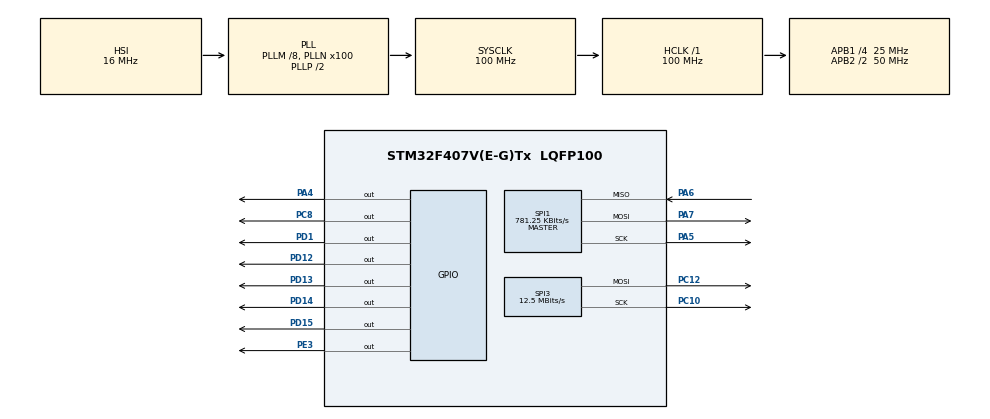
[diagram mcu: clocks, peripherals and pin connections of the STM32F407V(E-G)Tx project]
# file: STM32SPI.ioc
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Dma.Request0=SPI3_TX
Dma.SPI3_TX.0.Direction=DMA_MEMORY_TO_PERIPH
Dma.SPI3_TX.0.FIFOMode=DMA_FIFOMODE_DISABLE
Dma.SPI3_TX.0.Instance=DMA1_Stream7
Dma.SPI3_TX.0.MemDataAlignment=DMA_MDATAALIGN_BYTE
Dma.SPI3_TX.0.MemInc=DMA_MINC_ENABLE
Dma.SPI3_TX.0.Mode=DMA_NORMAL
Dma.SPI3_TX.0.PeriphDataAlignment=DMA_PDATAALIGN_BYTE
Dma.SPI3_TX.0.PeriphInc=DMA_PINC_DISABLE
Dma.SPI3_TX.0.Priority=DMA_PRIORITY_VERY_HIGH
FREERTOS.Tasks01=defaultTask,24,128,StartDefaultTask,Default,NULL,Dynamic,NULL,NULL
Mcu.Family=STM32F4
Mcu.Name=STM32F407V(E-G)Tx
Mcu.Package=LQFP100
NVIC.DMA1_Stream7_IRQn=true\:5\:0\:false\:true\:true\:1\:true\:false\:true
NVIC.PriorityGroup=NVIC_PRIORITYGROUP_4
NVIC.SPI3_IRQn=true\:5\:0\:true\:true\:true\:2\:true\:true\:true
NVIC.TIM1_UP_TIM10_IRQn=true\:0\:0\:false\:false\:true\:false\:false\:true
NVIC.TimeBase=TIM1_UP_TIM10_IRQn
NVIC.TimeBaseIP=TIM10
PA4.GPIO_Speed=GPIO_SPEED_FREQ_VERY_HIGH
PA4.PinState=GPIO_PIN_SET
PA4.Signal=GPIO_Output
PA5.Mode=Full_Duplex_Master
PA5.Signal=SPI1_SCK
PA6.Mode=Full_Duplex_Master
PA6.Signal=SPI1_MISO
PA7.Mode=Full_Duplex_Master
PA7.Signal=SPI1_MOSI
PC10.Mode=TX_Only_Simplex_Unidirect_Master
PC10.Signal=SPI3_SCK
PC12.Mode=TX_Only_Simplex_Unidirect_Master
PC12.Signal=SPI3_MOSI
PC8.GPIO_Speed=GPIO_SPEED_FREQ_VERY_HIGH
PC8.Signal=GPIO_Output
PD1.GPIO_Speed=GPIO_SPEED_FREQ_HIGH
PD1.Signal=GPIO_Output
PD12.Signal=GPIO_Output
PD13.Signal=GPIO_Output
PD14.Signal=GPIO_Output
PD15.Signal=GPIO_Output
PE3.GPIO_Speed=GPIO_SPEED_FREQ_VERY_HIGH
PE3.PinState=GPIO_PIN_SET
PE3.Signal=GPIO_Output
ProjectManager.HeapSize=0x200
ProjectManager.StackSize=0x400
ProjectManager.TargetToolchain=TrueSTUDIO
RCC.48MHZClocksFreq_Value=50000000
RCC.AHBFreq_Value=100000000
RCC.APB1CLKDivider=RCC_HCLK_DIV4
RCC.APB1Freq_Value=25000000
RCC.APB1TimFreq_Value=50000000
RCC.APB2CLKDivider=RCC_HCLK_DIV2
RCC.APB2Freq_Value=50000000
RCC.APB2TimFreq_Value=100000000
RCC.CortexFreq_Value=100000000
RCC.HCLKFreq_Value=100000000
RCC.HSE_VALUE=25000000
RCC.HSI_VALUE=16000000
RCC.LSE_VALUE=32768
RCC.PLLM=8
RCC.PLLN=100
RCC.SYSCLKFreq_VALUE=100000000
RCC.SYSCLKSource=RCC_SYSCLKSOURCE_PLLCLK
RCC.VCOOutputFreq_Value=200000000
SPI1.BaudRatePrescaler=SPI_BAUDRATEPRESCALER_64
SPI1.CLKPhase=SPI_PHASE_2EDGE
SPI1.CLKPolarity=SPI_POLARITY_HIGH
SPI1.CalculateBaudRate=781.25 KBits/s
SPI1.Direction=SPI_DIRECTION_2LINES
SPI1.Mode=SPI_MODE_MASTER
SPI1.VirtualType=VM_MASTER
SPI3.BaudRatePrescaler=SPI_BAUDRATEPRESCALER_2
SPI3.CLKPhase=SPI_PHASE_1EDGE
SPI3.CLKPolarity=SPI_POLARITY_LOW
SPI3.CalculateBaudRate=12.5 MBits/s
SPI3.Direction=SPI_DIRECTION_2LINES
SPI3.Mode=SPI_MODE_MASTER
SPI3.VirtualType=VM_MASTER
VP_FREERTOS_VS_CMSIS_V2.Mode=CMSIS_V2
VP_SYS_VS_tim10.Mode=TIM10
board=custom

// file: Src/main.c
/* USER CODE BEGIN Header */
/**
  ******************************************************************************
  * @file           : main.c
  * @brief          : Main program body
  ******************************************************************************
  * @attention
  *
  * <h2><center>&copy; Copyright (c) 2020 STMicroelectronics.
  * All rights reserved.</center></h2>
  *
  * This software component is licensed by ST under BSD 3-Clause license,
  * the "License"; You may not use this file except in compliance with the
  * License. You may obtain a copy of the License at:
  *                        opensource.org/licenses/BSD-3-Clause
  *
  ******************************************************************************
  */
/* USER CODE END Header */

#include "main.h"
#include "cmsis_os.h"

/* USER CODE BEGIN Includes */
#include "semphr.h"
#include <stdio.h>
/* USER CODE END Includes */

SPI_HandleTypeDef hspi1;
SPI_HandleTypeDef hspi3;
DMA_HandleTypeDef hdma_spi3_tx;

/* Definitions for defaultTask */
osThreadId_t defaultTaskHandle;
const osThreadAttr_t defaultTask_attributes = {
  .name = "defaultTask",
  .priority = (osPriority_t) osPriorityNormal,
  .stack_size = 128 * 4
};
/* USER CODE BEGIN PV */
SemaphoreHandle_t sDisplaySPI;
/* USER CODE END PV */

void SystemClock_Config(void);
static void MX_GPIO_Init(void);
static void MX_DMA_Init(void);
static void MX_SPI3_Init(void);
static void MX_SPI1_Init(void);
void StartDefaultTask(void *argument);

static void MX_NVIC_Init(void);

/* USER CODE BEGIN 0 */

const uint32_t delay_ms = 63;
static int8_t out_x = 0;
static int8_t out_y = 0;
static int8_t out_z = 0;
char str_x[4];
char str_y[4];
char str_z[4];

void vTaskDisplayTest(void * displayTestParam) {
	const uint32_t delay_ticks = delay_ms / portTICK_PERIOD_MS;
    ST7735_Init();
    LIS302DL_Init();

	ST7735_AddFill(ST7735_BLACK);

	ST7735_AddHorLine(38, 0, ST7735_WIDTH-1, 1, ST7735_YELLOW, SOLID);
	ST7735_AddHorLine(77, 0, ST7735_WIDTH-1, 1, ST7735_YELLOW, SOLID);
	ST7735_AddHorLine(116, 0, ST7735_WIDTH-1, 1, ST7735_YELLOW, SOLID);

	ST7735_AddVerLine(31, 0, 127, 1, ST7735_YELLOW, SOLID);

	ST7735_AddString(6, 2, "X", Font_16x26, ST7735_WHITE, ST7735_BLACK);
	ST7735_AddString(1, 27, str_x, Font_7x10, ST7735_WHITE, ST7735_BLACK);
	ST7735_AddString(6, 41, "Y", Font_16x26, ST7735_WHITE, ST7735_BLACK);
	ST7735_AddString(1, 66, str_y, Font_7x10, ST7735_WHITE, ST7735_BLACK);
	ST7735_AddString(6, 80, "Z", Font_16x26, ST7735_WHITE, ST7735_BLACK);
	ST7735_AddString(1, 105, str_z, Font_7x10, ST7735_WHITE, ST7735_BLACK);
	ST7735_AddString(1, 118, "Time", Font_7x10, ST7735_WHITE, ST7735_BLACK);

	ChannelData_t data_x;
	ChannelData_t data_y;
	ChannelData_t data_z;
	data_x.head = 0;
	data_x.cnt = 0;
	data_y.head = 0;
	data_y.cnt = 0;
	data_z.head = 0;
	data_z.cnt = 0;

	while(1) {

		out_x = LIS302DL_GetX();
		out_y = LIS302DL_GetY();
		out_z = LIS302DL_GetZ();
		pushChannelData(out_x, &data_x);
		pushChannelData(out_y, &data_y);
		pushChannelData(out_z, &data_z);
		sprintf(str_x, "%d", out_x);
		sprintf(str_y, "%d", out_y);
		sprintf(str_z, "%d", out_z);
		printChannelData(32, 19, &data_x, ST7735_WHITE);
		printChannelData(32, 58, &data_y, ST7735_WHITE);
		printChannelData(32, 96, &data_z, ST7735_WHITE);

		ST7735_AddHorLine(19, 31, ST7735_WIDTH-1, 1, ST7735_GRAY, DOTTED);
		ST7735_AddHorLine(58, 31, ST7735_WIDTH-1, 1, ST7735_GRAY, DOTTED);
		ST7735_AddHorLine(96, 31, ST7735_WIDTH-1, 1, ST7735_GRAY, DOTTED);

		ST7735_AddVerLine(ST7735_WIDTH - 32, 0, 116, 1, ST7735_GRAY, DOTTED);
		ST7735_AddVerLine(ST7735_WIDTH - 64, 0, 116, 1, ST7735_GRAY, DOTTED);
		ST7735_AddVerLine(ST7735_WIDTH - 96, 0, 116, 1, ST7735_GRAY, DOTTED);

		ST7735_AddString(1, 27, str_x, Font_7x10, ST7735_WHITE, ST7735_BLACK);
		ST7735_AddString(1, 66, str_y, Font_7x10, ST7735_WHITE, ST7735_BLACK);
		ST7735_AddString(1, 105, str_z, Font_7x10, ST7735_WHITE, ST7735_BLACK);
		ST7735_Refresh();
		vTaskDelay(delay_ticks);
		ST7735_AddRectangle(1, 27, 30, 37, ST7735_BLACK);
		ST7735_AddRectangle(1, 66, 30, 76, ST7735_BLACK);
		ST7735_AddRectangle(1, 105, 30, 115, ST7735_BLACK);

		ST7735_AddRectangle(32, 1, 159, 37, ST7735_BLACK);
		ST7735_AddRectangle(32, 40, 159, 75, ST7735_BLACK);
		ST7735_AddRectangle(32, 78, 159, 115, ST7735_BLACK);

	}
}

//void vTaskScreenRefresher(void * pRefresher) {
//	uint16_t refreshPeriod_ms = 123;
//	uint8_t refreshPeriod_ticks = refreshPeriod_ms / portTICK_PERIOD_MS;
//	while(1) {
//		vTaskDelay(refreshPeriod_ticks);
//		ST7735_Refresh();
//
//	}
//}

//void vTaskMEMS(void * pMEMS) {
//	const uint32_t delay_ticks = 123 / portTICK_PERIOD_MS;
//	uint8_t deviceId = 0;
//	LIS302DL_Init();
//	while(1) {
//		out_x = LIS302DL_GetX();
//		out_y = LIS302DL_GetY();
//		out_z = LIS302DL_GetZ();
//		sprintf(str_x, "%d", out_x);
//		sprintf(str_y, "%d", out_y);
//		sprintf(str_z, "%d", out_z);
//		vTaskDelay(delay_ticks);
//		deviceId = 0;
//	}
//}

/* USER CODE END 0 */

int main(void)
{

  /* MCU Configuration--------------------------------------------------------*/

  /* Reset of all peripherals, Initializes the Flash interface and the Systick. */
  HAL_Init();

  /* USER CODE BEGIN Init */
  sDisplaySPI = xSemaphoreCreateBinary();
  xSemaphoreGive(sDisplaySPI);
  /* USER CODE END Init */

  /* Configure the system clock */
  SystemClock_Config();

  /* Initialize all configured peripherals */
  MX_GPIO_Init();
  MX_DMA_Init();
  MX_SPI3_Init();
  MX_SPI1_Init();

  /* Initialize interrupts */
  MX_NVIC_Init();

  /* Init scheduler */
  osKernelInitialize();

  /* Create the thread(s) */
  /* creation of defaultTask */
  defaultTaskHandle = osThreadNew(StartDefaultTask, NULL, &defaultTask_attributes);

  /* USER CODE BEGIN RTOS_THREADS */
  /* add threads, ... */
//  BaseType_t xTaskCreate(	TaskFunction_t pxTaskCode,
//  							const char * const pcName,	/*lint !e971 Unqualified char types are allowed for strings and single characters only. */
//  							const configSTACK_DEPTH_TYPE usStackDepth,
//  							void * const pvParameters,
//  							UBaseType_t uxPriority,
//  							TaskHandle_t * const pxCreatedTask ) PRIVILEGED_FUNCTION;

  xTaskCreate(
		  vTaskDisplayTest,
		  "DisplayTest",
		  (uint16_t)2048,
		  NULL,
		  2,
		  NULL
  );
//  xTaskCreate(
//		  vTaskScreenRefresher,
//		  "ScreenRefresher",
//		  configMINIMAL_STACK_SIZE,
//		  NULL,
//		  20,
//		  NULL
//  );

//  xTaskCreate(
//  		  vTaskMEMS,
//  		  "MEMS_measurement",
//		  configMINIMAL_STACK_SIZE,
//  		  NULL,
//  		  2,
//  		  NULL
//    );

  /* USER CODE END RTOS_THREADS */

  /* Start scheduler */
  osKernelStart();

  /* We should never get here as control is now taken by the scheduler */
  /* Infinite loop */
  /* USER CODE BEGIN WHILE */
//  uint32_t cnt = 0;
//  HAL_GPIO_WritePin (GPIOA, GPIO_PIN_4, GPIO_PIN_SET);  	// Set CS (no transmission)
//  HAL_GPIO_WritePin(GPIOD,  GPIO_PIN_1, GPIO_PIN_SET); 		// No reset
//  HAL_GPIO_WritePin (GPIOC, GPIO_PIN_8, GPIO_PIN_RESET);

  while (1)
  {
    /* USER CODE END WHILE */

  }
}

void SystemClock_Config(void)
{
  RCC_OscInitTypeDef RCC_OscInitStruct = {0};
  RCC_ClkInitTypeDef RCC_ClkInitStruct = {0};

  /** Configure the main internal regulator output voltage
  */
  __HAL_RCC_PWR_CLK_ENABLE();
  __HAL_PWR_VOLTAGESCALING_CONFIG(PWR_REGULATOR_VOLTAGE_SCALE1);
  /** Initializes the CPU, AHB and APB busses clocks
  */
  RCC_OscInitStruct.OscillatorType = RCC_OSCILLATORTYPE_HSI;
  RCC_OscInitStruct.HSIState = RCC_HSI_ON;
  RCC_OscInitStruct.HSICalibrationValue = RCC_HSICALIBRATION_DEFAULT;
  RCC_OscInitStruct.PLL.PLLState = RCC_PLL_ON;
  RCC_OscInitStruct.PLL.PLLSource = RCC_PLLSOURCE_HSI;
  RCC_OscInitStruct.PLL.PLLM = 8;
  RCC_OscInitStruct.PLL.PLLN = 100;
  RCC_OscInitStruct.PLL.PLLP = RCC_PLLP_DIV2;
  RCC_OscInitStruct.PLL.PLLQ = 4;
  if (HAL_RCC_OscConfig(&RCC_OscInitStruct) != HAL_OK)
  {
    Error_Handler();
  }
  /** Initializes the CPU, AHB and APB busses clocks
  */
  RCC_ClkInitStruct.ClockType = RCC_CLOCKTYPE_HCLK|RCC_CLOCKTYPE_SYSCLK
                              |RCC_CLOCKTYPE_PCLK1|RCC_CLOCKTYPE_PCLK2;
  RCC_ClkInitStruct.SYSCLKSource = RCC_SYSCLKSOURCE_PLLCLK;
  RCC_ClkInitStruct.AHBCLKDivider = RCC_SYSCLK_DIV1;
  RCC_ClkInitStruct.APB1CLKDivider = RCC_HCLK_DIV4;
  RCC_ClkInitStruct.APB2CLKDivider = RCC_HCLK_DIV2;

  if (HAL_RCC_ClockConfig(&RCC_ClkInitStruct, FLASH_LATENCY_3) != HAL_OK)
  {
    Error_Handler();
  }
}

/**
  * @brief NVIC Configuration.
  * @retval None
  */
static void MX_NVIC_Init(void)
{
  /* DMA1_Stream7_IRQn interrupt configuration */
  HAL_NVIC_SetPriority(DMA1_Stream7_IRQn, 5, 0);
  HAL_NVIC_EnableIRQ(DMA1_Stream7_IRQn);
  /* SPI3_IRQn interrupt configuration */
  HAL_NVIC_SetPriority(SPI3_IRQn, 5, 0);
  HAL_NVIC_EnableIRQ(SPI3_IRQn);
}

static void MX_SPI1_Init(void)
{

  /* SPI1 parameter configuration*/
  hspi1.Instance = SPI1;
  hspi1.Init.Mode = SPI_MODE_MASTER;
  hspi1.Init.Direction = SPI_DIRECTION_2LINES;
  hspi1.Init.DataSize = SPI_DATASIZE_8BIT;
  hspi1.Init.CLKPolarity = SPI_POLARITY_HIGH;
  hspi1.Init.CLKPhase = SPI_PHASE_2EDGE;
  hspi1.Init.NSS = SPI_NSS_SOFT;
  hspi1.Init.BaudRatePrescaler = SPI_BAUDRATEPRESCALER_64;
  hspi1.Init.FirstBit = SPI_FIRSTBIT_MSB;
  hspi1.Init.TIMode = SPI_TIMODE_DISABLE;
  hspi1.Init.CRCCalculation = SPI_CRCCALCULATION_DISABLE;
  hspi1.Init.CRCPolynomial = 10;
  if (HAL_SPI_Init(&hspi1) != HAL_OK)
  {
    Error_Handler();
  }

}

static void MX_SPI3_Init(void)
{

  /* SPI3 parameter configuration*/
  hspi3.Instance = SPI3;
  hspi3.Init.Mode = SPI_MODE_MASTER;
  hspi3.Init.Direction = SPI_DIRECTION_2LINES;
  hspi3.Init.DataSize = SPI_DATASIZE_8BIT;
  hspi3.Init.CLKPolarity = SPI_POLARITY_LOW;
  hspi3.Init.CLKPhase = SPI_PHASE_1EDGE;
  hspi3.Init.NSS = SPI_NSS_SOFT;
  hspi3.Init.BaudRatePrescaler = SPI_BAUDRATEPRESCALER_2;
  hspi3.Init.FirstBit = SPI_FIRSTBIT_MSB;
  hspi3.Init.TIMode = SPI_TIMODE_DISABLE;
  hspi3.Init.CRCCalculation = SPI_CRCCALCULATION_DISABLE;
  hspi3.Init.CRCPolynomial = 10;
  if (HAL_SPI_Init(&hspi3) != HAL_OK)
  {
    Error_Handler();
  }

}

static void MX_DMA_Init(void)
{

  /* DMA controller clock enable */
  __HAL_RCC_DMA1_CLK_ENABLE();

}

static void MX_GPIO_Init(void)
{
  GPIO_InitTypeDef GPIO_InitStruct = {0};

  /* GPIO Ports Clock Enable */
  __HAL_RCC_GPIOE_CLK_ENABLE();
  __HAL_RCC_GPIOA_CLK_ENABLE();
  __HAL_RCC_GPIOD_CLK_ENABLE();
  __HAL_RCC_GPIOC_CLK_ENABLE();

  /*Configure GPIO pin Output Level */
  HAL_GPIO_WritePin(GPIOE, GPIO_PIN_3, GPIO_PIN_SET);

  /*Configure GPIO pin Output Level */
  HAL_GPIO_WritePin(GPIOA, GPIO_PIN_4, GPIO_PIN_SET);

  /*Configure GPIO pin Output Level */
  HAL_GPIO_WritePin(GPIOD, GPIO_PIN_12|GPIO_PIN_13|GPIO_PIN_14|GPIO_PIN_15
                          |GPIO_PIN_1, GPIO_PIN_RESET);

  /*Configure GPIO pin Output Level */
  HAL_GPIO_WritePin(GPIOC, GPIO_PIN_8, GPIO_PIN_RESET);

  /*Configure GPIO pin : PE3 */
  GPIO_InitStruct.Pin = GPIO_PIN_3;
  GPIO_InitStruct.Mode = GPIO_MODE_OUTPUT_PP;
  GPIO_InitStruct.Pull = GPIO_NOPULL;
  GPIO_InitStruct.Speed = GPIO_SPEED_FREQ_VERY_HIGH;
  HAL_GPIO_Init(GPIOE, &GPIO_InitStruct);

  /*Configure GPIO pin : PA4 */
  GPIO_InitStruct.Pin = GPIO_PIN_4;
  GPIO_InitStruct.Mode = GPIO_MODE_OUTPUT_PP;
  GPIO_InitStruct.Pull = GPIO_NOPULL;
  GPIO_InitStruct.Speed = GPIO_SPEED_FREQ_VERY_HIGH;
  HAL_GPIO_Init(GPIOA, &GPIO_InitStruct);

  /*Configure GPIO pins : PD12 PD13 PD14 PD15 */
  GPIO_InitStruct.Pin = GPIO_PIN_12|GPIO_PIN_13|GPIO_PIN_14|GPIO_PIN_15;
  GPIO_InitStruct.Mode = GPIO_MODE_OUTPUT_PP;
  GPIO_InitStruct.Pull = GPIO_NOPULL;
  GPIO_InitStruct.Speed = GPIO_SPEED_FREQ_LOW;
  HAL_GPIO_Init(GPIOD, &GPIO_InitStruct);

  /*Configure GPIO pin : PC8 */
  GPIO_InitStruct.Pin = GPIO_PIN_8;
  GPIO_InitStruct.Mode = GPIO_MODE_OUTPUT_PP;
  GPIO_InitStruct.Pull = GPIO_NOPULL;
  GPIO_InitStruct.Speed = GPIO_SPEED_FREQ_VERY_HIGH;
  HAL_GPIO_Init(GPIOC, &GPIO_InitStruct);

  /*Configure GPIO pin : PD1 */
  GPIO_InitStruct.Pin = GPIO_PIN_1;
  GPIO_InitStruct.Mode = GPIO_MODE_OUTPUT_PP;
  GPIO_InitStruct.Pull = GPIO_NOPULL;
  GPIO_InitStruct.Speed = GPIO_SPEED_FREQ_HIGH;
  HAL_GPIO_Init(GPIOD, &GPIO_InitStruct);

}

/* USER CODE BEGIN 4 */
void HAL_SPI_TxCpltCallback(SPI_HandleTypeDef *hspi) {
	ST7735_Unselect();
	xSemaphoreGiveFromISR(sDisplaySPI, NULL);
}
/* USER CODE END 4 */

void StartDefaultTask(void *argument)
{
  for(;;)
  {
    osDelay(1);
  }
}

 /**
  * @brief  Period elapsed callback in non blocking mode
  * @note   This function is called  when TIM10 interrupt took place, inside
  * HAL_TIM_IRQHandler(). It makes a direct call to HAL_IncTick() to increment
  * a global variable "uwTick" used as application time base.
  * @param  htim : TIM handle
  * @retval None
  */
void HAL_TIM_PeriodElapsedCallback(TIM_HandleTypeDef *htim)
{
  if (htim->Instance == TIM10) {
    HAL_IncTick();
  }
}

void Error_Handler(void)
{
}

/************************ (C) COPYRIGHT STMicroelectronics *****END OF FILE****/
